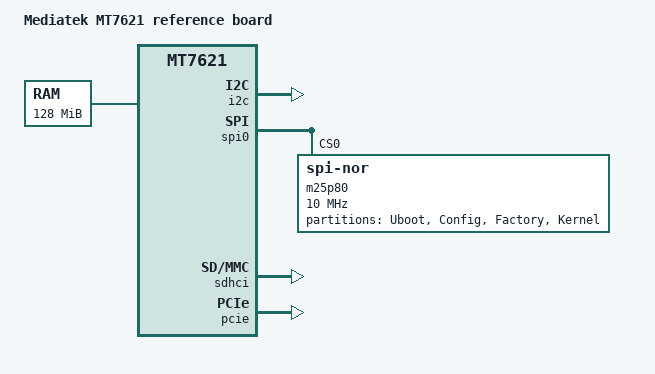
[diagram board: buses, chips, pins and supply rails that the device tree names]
/*
 * Device Tree Source for MT7621 RFB
 *
 * Copyright (C) 2018 OpenWrt
 *
 * This program is free software; you can redistribute it and/or modify
 * it under the terms of the GNU General Public License version 2 as
 * published by the Free Software Foundation.
 */
/dts-v1/;

#include "mt7621.dtsi"

/ {
	compatible = "mediatek,mt7621-ref-board", "mediatek,mt7621-soc";
	model = "Mediatek MT7621 reference board";

	memory@0 {
		device_type = "memory";
		reg = <0x0 0x8000000>;
	};

	chosen {
		bootargs = "console=ttyS0,57600";
	};
};

&i2c {
	status = "okay";
};

&spi0 {
	status = "okay";
	m25p80@0 {
		compatible = "jedec,spi-nor";
		#address-cells = <1>;
		#size-cells = <1>;
		reg = <0>;
		linux,modalias = "m25p80", "mx25l25635e";
		spi-max-frequency = <10000000>;
		m25p,chunked-io = <32>;

		partition@0 {
			label = "Uboot";
			reg = <0x00000 0x30000>; /* 192 KB */
		};

		partition@30000 {
			label = "Config";
			reg = <0x30000 0x10000>; /* 64 KB */
		};

		partition@40000 {
			label = "Factory";
			reg = <0x40000 0x10000>; /* 64 KB */
		};

		partition@50000 {
			label = "Kernel";
			reg = <0x50000 0x6c0000>;
		};
	};
};

&sdhci {
	status = "okay";
};

&pcie {
	status = "okay";
};

&pinctrl {
	state_default: pinctrl0 {
		gpio {
			mtk,group = "uart2", "uart3", "rgmii2", "sdhci";
			mtk,function = "gpio";
		};
	};
};
